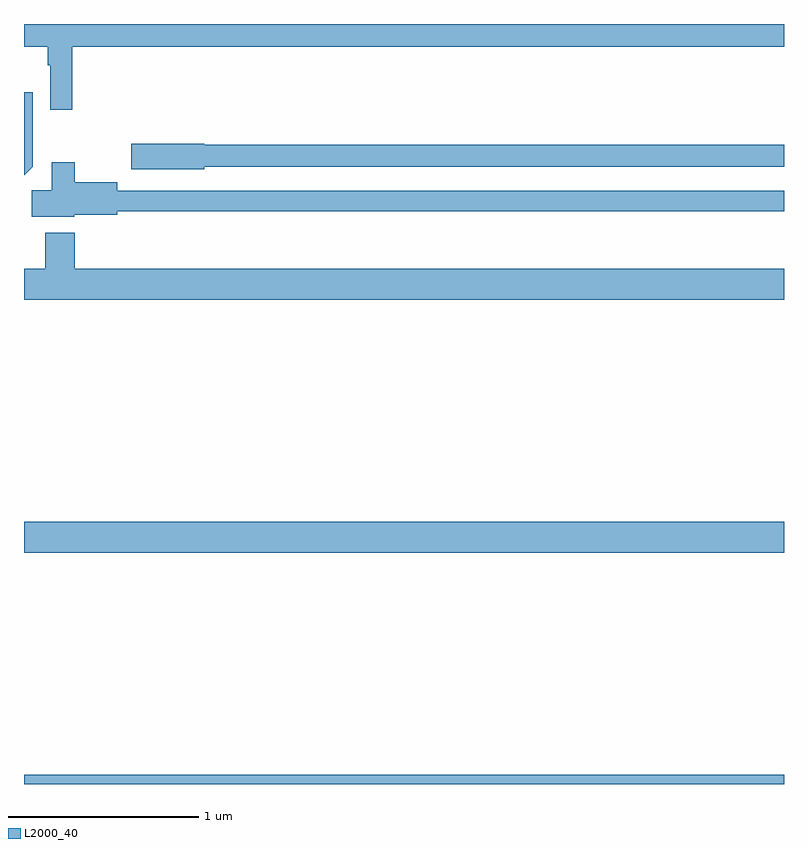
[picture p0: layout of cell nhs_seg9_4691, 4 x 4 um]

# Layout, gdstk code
import gdstk
lib = gdstk.Library(unit=1e-6, precision=1e-09)
def R(c, l, rs):  # rectangles x0, y0, x1, y1
    for r in rs: c.add(gdstk.rectangle(r[:2], r[2:], *l))
def P(c, l, *ps):  # polygons
    for p in ps: c.add(gdstk.Polygon(p, *l))
L2000_40 = (2000, 40)

nhs_seg9_4691 = lib.new_cell('nhs_seg9_4691')
R(nhs_seg9_4691, L2000_40, [(381,1232.5,385,1232.548), (381,1233.716,385,1233.88)])
P(nhs_seg9_4691, L2000_40, [(381.254,1236.38),(385,1236.38),(385,1236.5),(381,1236.5),(381,1236.38),(381.126,1236.38),(381.126,1236.284),(381.138,1236.284),(381.138,1236.048),(381.254,1236.048)],
  [(381.046,1235.75),(381.046,1236.142),(381,1236.142),(381,1235.704)],
  [(381.948,1235.748),(385,1235.748),(385,1235.864),(381.948,1235.864),(381.948,1235.87),(381.564,1235.87),(381.564,1235.735),(381.948,1235.735)],
  [(381.264,1235.495),(381.49,1235.495),(381.49,1235.514),(385,1235.514),(385,1235.622),(381.49,1235.622),(381.49,1235.666),(381.268,1235.666),(381.268,1235.773),(381.146,1235.773),(381.146,1235.624),(381.041,1235.624),(381.041,1235.486),(381.264,1235.486)],
  [(385,1235.212),(381.266,1235.212),(381.266,1235.401),(381.113,1235.401),(381.113,1235.212),(381,1235.212),(381,1235.048),(385,1235.048)])

lib.write_gds('nhs_seg9_4691.gds')
